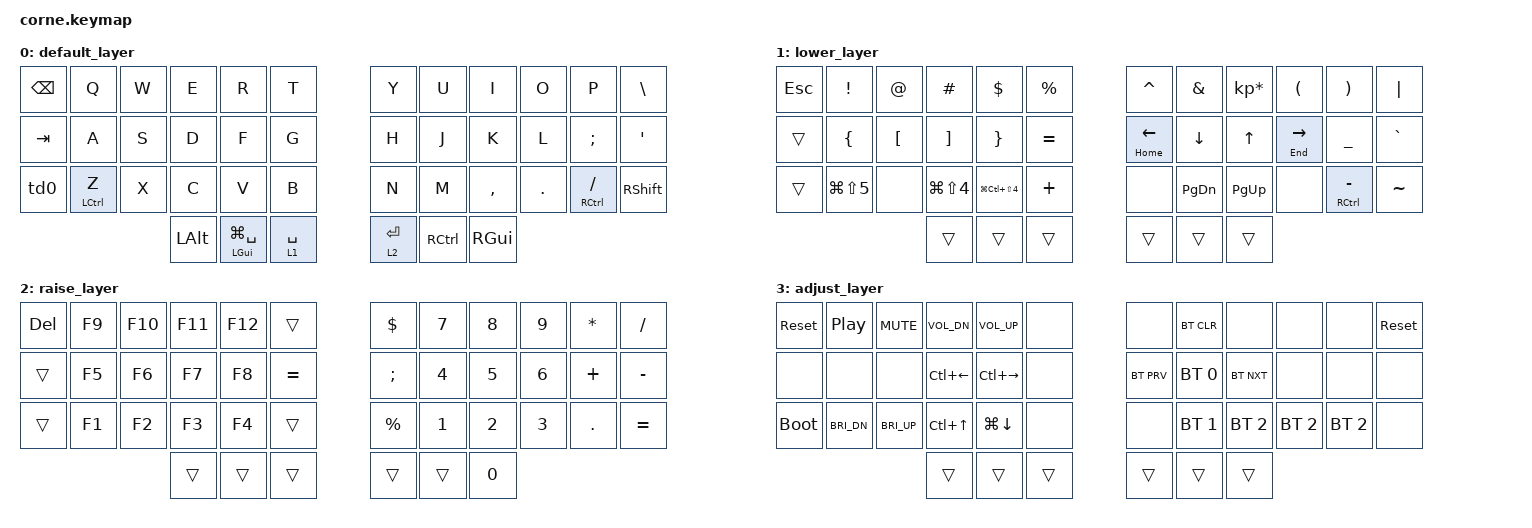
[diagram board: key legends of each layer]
/*
 * Copyright (c) 2020 The ZMK Contributors
 *
 * SPDX-License-Identifier: MIT
 */

#include <behaviors.dtsi>
#include <dt-bindings/zmk/keys.h>
#include <dt-bindings/zmk/bt.h>

/ {
    conditional_layers {
        compatible = "zmk,conditional-layers";
        adjust_layer {
            if-layers = <1 2>;
            then-layer = <3>;
        };
        mouse_layer {
            if-layers = <1 2>;
            then-layer = <3>;
        };
    };
};

/ {    
        behaviors {
            td0: shift_capsword {
                compatible = "zmk,behavior-tap-dance";
                #binding-cells = <0>;
                tapping-term-ms = <200>;
                bindings = <&kp LSHFT>, <&kt LSHFT>;
            };
        };

        keymap {
                compatible = "zmk,keymap";

                default_layer {
                        bindings = <
   &kp BSPC           &kp Q              &kp W              &kp E              &kp R              &kp T              &kp Y              &kp U              &kp I              &kp O              &kp P              &kp BSLH
   &kp TAB            &kp A              &kp S              &kp D              &kp F              &kp G              &kp H              &kp J              &kp K              &kp L              &kp SEMI           &kp SQT
   &td0               &mt LCTRL Z        &kp X              &kp C              &kp V              &kp B              &kp N              &kp M              &kp COMMA          &kp DOT            &mt RCTRL FSLH     &kp RSHFT
                                                            &kp LALT           &mt LGUI LG(SPACE) &lt 1 SPACE        &lt 2 RET          &kp RCTRL          &kp RGUI
                        >;
                };

                lower_layer {
                        bindings = <
   &kp ESC            &kp EXCL           &kp AT             &kp HASH           &kp DLLR           &kp PRCNT          &kp CARET          &kp AMPS           &kp KP_MULTIPLY    &kp LPAR           &kp RPAR           &kp PIPE  
   &trans             &kp LBRC           &kp LBKT           &kp RBKT           &kp RBRC           &kp EQUAL          &mt HOME LEFT      &kp DOWN           &kp UP             &mt END RIGHT      &kp UNDER          &kp GRAVE
   &trans             &kp LG(LS(N5))     &none              &kp LG(LS(N4))     &kp LG(LC(LS(N4))) &kp PLUS           &none              &kp PG_DN          &kp PG_UP          &none              &mt RCTRL MINUS    &kp TILDE
                                                            &trans             &trans             &trans             &trans             &trans             &trans
                        >;
                };

                raise_layer {
                        bindings = <
   &kp DEL            &kp F9             &kp F10            &kp F11            &kp F12            &trans             &kp DLLR           &kp N7             &kp N8             &kp N9             &kp STAR           &kp SLASH
   &trans             &kp F5             &kp F6             &kp F7             &kp F8             &kp EQUAL          &kp SEMI           &kp N4             &kp N5             &kp N6             &kp PLUS           &kp MINUS
   &trans             &kp F1             &kp F2             &kp F3             &kp F4             &trans             &kp PRCNT          &kp N1             &kp N2             &kp N3             &kp DOT            &kp EQUAL
                                                            &trans             &trans             &trans             &trans             &trans             &kp N0
                        >;
                };

                adjust_layer {
                        bindings = <
   &sys_reset             &kp C_PP           &kp C_MUTE         &kp C_VOL_DN       &kp C_VOL_UP       &none              &none              &bt BT_CLR         &none              &none              &none              &sys_reset
   &none              &none              &none              &kp LC(LEFT)       &kp LC(RIGHT)      &none              &bt BT_PRV         &bt BT_SEL 0       &bt BT_NXT         &none              &none              &none
   &bootloader        &kp C_BRI_DN       &kp C_BRI_UP       &kp LC(UP)         &kp LG(DOWN)       &none              &none              &bt BT_SEL 1       &bt BT_SEL 2       &bt BT_SEL 2       &bt BT_SEL 2       &none
                                                            &trans             &trans             &trans             &trans             &trans             &trans
                        >;
                };
        };
};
